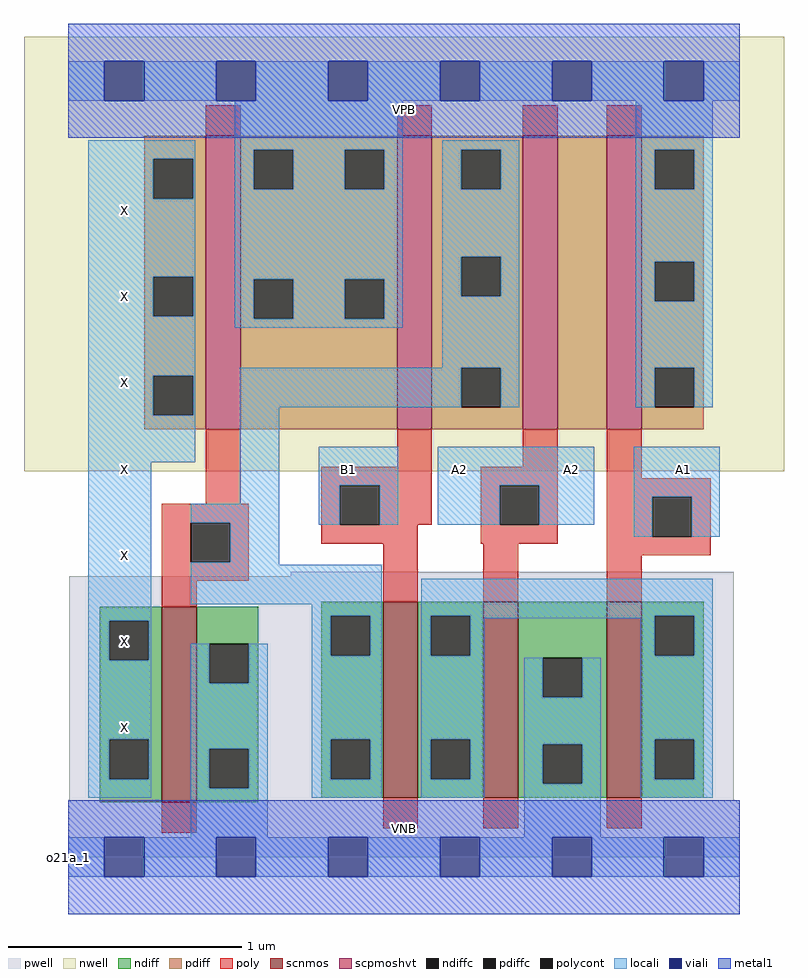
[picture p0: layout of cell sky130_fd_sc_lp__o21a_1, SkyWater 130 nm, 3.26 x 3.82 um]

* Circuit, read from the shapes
.subckt sky130_fd_sc_lp__o21a_1 A1 A2 B1 VGND VNB VPB VPWR X
XM1 VGND n1 X VNB sky130_fd_pr__nfet_01v8 w=0.84 l=0.15
XM2 n2 B1 n1 VNB sky130_fd_pr__nfet_01v8 w=0.84 l=0.15
XM3 VGND A2 n2 VNB sky130_fd_pr__nfet_01v8 w=0.84 l=0.15
XM4 n2 A1 VGND VNB sky130_fd_pr__nfet_01v8 w=0.84 l=0.15
XM5 VPWR n1 X VPB sky130_fd_pr__pfet_01v8_hvt w=1.26 l=0.15
XM6 n1 B1 VPWR VPB sky130_fd_pr__pfet_01v8_hvt w=1.26 l=0.15
XM7 n3 A2 n1 VPB sky130_fd_pr__pfet_01v8_hvt w=1.26 l=0.15
XM8 VPWR A1 n3 VPB sky130_fd_pr__pfet_01v8_hvt w=1.26 l=0.15
.ends

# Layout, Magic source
magic
tech sky130A
magscale 1 2
<< nwell >>
rect -38 331 614 704
<< pwell >>
rect 191 241 571 245
rect 1 49 571 241
rect 0 0 576 49
<< scnmos >>
rect 80 47 110 215
rect 270 51 300 219
rect 356 51 386 219
rect 462 51 492 219
<< scpmoshvt >>
rect 118 367 148 619
rect 282 367 312 619
rect 390 367 420 619
rect 462 367 492 619
<< ndiff >>
rect 27 203 80 215
rect 27 169 35 203
rect 69 169 80 203
rect 27 101 80 169
rect 27 67 35 101
rect 69 67 80 101
rect 27 47 80 67
rect 110 183 163 215
rect 110 149 121 183
rect 155 149 163 183
rect 110 93 163 149
rect 110 59 121 93
rect 155 59 163 93
rect 110 47 163 59
rect 217 207 270 219
rect 217 173 225 207
rect 259 173 270 207
rect 217 101 270 173
rect 217 67 225 101
rect 259 67 270 101
rect 217 51 270 67
rect 300 207 356 219
rect 300 173 311 207
rect 345 173 356 207
rect 300 101 356 173
rect 300 67 311 101
rect 345 67 356 101
rect 300 51 356 67
rect 386 171 462 219
rect 386 137 407 171
rect 441 137 462 171
rect 386 97 462 137
rect 386 63 407 97
rect 441 63 462 97
rect 386 51 462 63
rect 492 207 545 219
rect 492 173 503 207
rect 537 173 545 207
rect 492 101 545 173
rect 492 67 503 101
rect 537 67 545 101
rect 492 51 545 67
<< pdiff >>
rect 65 599 118 619
rect 65 565 73 599
rect 107 565 118 599
rect 65 498 118 565
rect 65 464 73 498
rect 107 464 118 498
rect 65 413 118 464
rect 65 379 73 413
rect 107 379 118 413
rect 65 367 118 379
rect 148 607 282 619
rect 148 573 159 607
rect 193 573 237 607
rect 271 573 282 607
rect 148 496 282 573
rect 148 462 159 496
rect 193 462 237 496
rect 271 462 282 496
rect 148 367 282 462
rect 312 607 390 619
rect 312 573 337 607
rect 371 573 390 607
rect 312 515 390 573
rect 312 481 337 515
rect 371 481 390 515
rect 312 420 390 481
rect 312 386 337 420
rect 371 386 390 420
rect 312 367 390 386
rect 420 367 462 619
rect 492 607 545 619
rect 492 573 503 607
rect 537 573 545 607
rect 492 511 545 573
rect 492 477 503 511
rect 537 477 545 511
rect 492 420 545 477
rect 492 386 503 420
rect 537 386 545 420
rect 492 367 545 386
<< ndiffc >>
rect 35 169 69 203
rect 35 67 69 101
rect 121 149 155 183
rect 121 59 155 93
rect 225 173 259 207
rect 225 67 259 101
rect 311 173 345 207
rect 311 67 345 101
rect 407 137 441 171
rect 407 63 441 97
rect 503 173 537 207
rect 503 67 537 101
<< pdiffc >>
rect 73 565 107 599
rect 73 464 107 498
rect 73 379 107 413
rect 159 573 193 607
rect 237 573 271 607
rect 159 462 193 496
rect 237 462 271 496
rect 337 573 371 607
rect 337 481 371 515
rect 337 386 371 420
rect 503 573 537 607
rect 503 477 537 511
rect 503 386 537 420
<< poly >>
rect 118 619 148 645
rect 282 619 312 645
rect 390 619 420 645
rect 462 619 492 645
rect 118 303 148 367
rect 282 335 312 367
rect 390 335 420 367
rect 217 319 312 335
rect 80 287 155 303
rect 80 253 105 287
rect 139 253 155 287
rect 217 285 233 319
rect 267 285 312 319
rect 354 319 420 335
rect 354 285 370 319
rect 404 285 420 319
rect 217 269 300 285
rect 354 269 420 285
rect 462 325 492 367
rect 462 309 551 325
rect 462 275 501 309
rect 535 275 551 309
rect 80 237 155 253
rect 80 215 110 237
rect 270 219 300 269
rect 356 219 386 269
rect 462 259 551 275
rect 462 219 492 259
rect 80 21 110 47
rect 270 25 300 51
rect 356 25 386 51
rect 462 25 492 51
<< polycont >>
rect 105 253 139 287
rect 233 285 267 319
rect 370 285 404 319
rect 501 275 535 309
<< locali >>
rect 0 649 31 683
rect 65 649 127 683
rect 161 649 223 683
rect 257 649 319 683
rect 353 649 415 683
rect 449 649 511 683
rect 545 649 576 683
rect 17 599 109 615
rect 17 565 73 599
rect 107 565 109 599
rect 17 498 109 565
rect 17 464 73 498
rect 107 464 109 498
rect 17 413 109 464
rect 143 607 287 649
rect 143 573 159 607
rect 193 573 237 607
rect 271 573 287 607
rect 143 496 287 573
rect 143 462 159 496
rect 193 462 237 496
rect 271 462 287 496
rect 143 454 287 462
rect 321 607 387 615
rect 321 573 337 607
rect 371 573 387 607
rect 321 515 387 573
rect 321 481 337 515
rect 371 481 387 515
rect 321 420 387 481
rect 17 379 73 413
rect 107 379 109 413
rect 17 339 109 379
rect 147 386 337 420
rect 371 386 387 420
rect 487 607 553 649
rect 487 573 503 607
rect 537 573 553 607
rect 487 511 553 573
rect 487 477 503 511
rect 537 477 553 511
rect 487 420 553 477
rect 487 386 503 420
rect 537 386 553 420
rect 17 203 71 339
rect 147 303 181 386
rect 105 287 181 303
rect 139 253 181 287
rect 215 319 283 352
rect 215 285 233 319
rect 267 285 283 319
rect 317 319 451 352
rect 317 285 370 319
rect 404 285 451 319
rect 485 309 559 352
rect 485 275 501 309
rect 535 275 559 309
rect 105 251 181 253
rect 105 217 269 251
rect 17 169 35 203
rect 69 169 71 203
rect 209 207 269 217
rect 17 101 71 169
rect 17 67 35 101
rect 69 67 71 101
rect 17 51 71 67
rect 105 149 121 183
rect 155 149 171 183
rect 105 93 171 149
rect 105 59 121 93
rect 155 59 171 93
rect 105 17 171 59
rect 209 173 225 207
rect 259 173 269 207
rect 209 101 269 173
rect 209 67 225 101
rect 259 67 269 101
rect 209 51 269 67
rect 303 207 553 239
rect 303 173 311 207
rect 345 205 503 207
rect 345 173 357 205
rect 303 101 357 173
rect 491 173 503 205
rect 537 173 553 207
rect 303 67 311 101
rect 345 67 357 101
rect 303 51 357 67
rect 391 137 407 171
rect 441 137 457 171
rect 391 97 457 137
rect 391 63 407 97
rect 441 63 457 97
rect 391 17 457 63
rect 491 101 553 173
rect 491 67 503 101
rect 537 67 553 101
rect 491 51 553 67
rect 0 -17 31 17
rect 65 -17 127 17
rect 161 -17 223 17
rect 257 -17 319 17
rect 353 -17 415 17
rect 449 -17 511 17
rect 545 -17 576 17
<< viali >>
rect 31 649 65 683
rect 127 649 161 683
rect 223 649 257 683
rect 319 649 353 683
rect 415 649 449 683
rect 511 649 545 683
rect 31 -17 65 17
rect 127 -17 161 17
rect 223 -17 257 17
rect 319 -17 353 17
rect 415 -17 449 17
rect 511 -17 545 17
<< metal1 >>
rect 0 683 576 715
rect 0 649 31 683
rect 65 649 127 683
rect 161 649 223 683
rect 257 649 319 683
rect 353 649 415 683
rect 449 649 511 683
rect 545 649 576 683
rect 0 617 576 649
rect 0 17 576 49
rect 0 -17 31 17
rect 65 -17 127 17
rect 161 -17 223 17
rect 257 -17 319 17
rect 353 -17 415 17
rect 449 -17 511 17
rect 545 -17 576 17
rect 0 -49 576 -17
<< labels >>
flabel pwell s 0 0 576 49 0 FreeSans 200 0 0 0 VNB
port 5 nsew ground bidirectional
flabel nwell s 0 617 576 666 0 FreeSans 200 0 0 0 VPB
port 6 nsew power bidirectional
rlabel comment s 0 0 0 0 4 o21a_1
flabel metal1 s 0 617 576 666 0 FreeSans 340 0 0 0 VPWR
port 7 nsew power bidirectional
flabel metal1 s 0 0 576 49 0 FreeSans 340 0 0 0 VGND
port 4 nsew ground bidirectional
flabel locali s 319 316 353 350 0 FreeSans 340 0 0 0 A2
port 2 nsew signal input
flabel locali s 415 316 449 350 0 FreeSans 340 0 0 0 A2
port 2 nsew signal input
flabel locali s 31 94 65 128 0 FreeSans 340 0 0 0 X
port 8 nsew signal output
flabel locali s 31 168 65 202 0 FreeSans 340 0 0 0 X
port 8 nsew signal output
flabel locali s 31 242 65 276 0 FreeSans 340 0 0 0 X
port 8 nsew signal output
flabel locali s 31 316 65 350 0 FreeSans 340 0 0 0 X
port 8 nsew signal output
flabel locali s 31 390 65 424 0 FreeSans 340 0 0 0 X
port 8 nsew signal output
flabel locali s 31 464 65 498 0 FreeSans 340 0 0 0 X
port 8 nsew signal output
flabel locali s 31 538 65 572 0 FreeSans 340 0 0 0 X
port 8 nsew signal output
flabel locali s 511 316 545 350 0 FreeSans 340 0 0 0 A1
port 1 nsew signal input
flabel locali s 223 316 257 350 0 FreeSans 340 0 0 0 B1
port 3 nsew signal input
<< properties >>
string LEFsite unit
string LEFclass CORE
string FIXED_BBOX 0 0 576 666
string GDS_FILE $PDKPATH/libs.ref/sky130_fd_sc_lp/gds/sky130_fd_sc_lp.gds
string LEFsymmetry X Y R90
string GDS_END 808776
string GDS_START 802146
<< end >>
